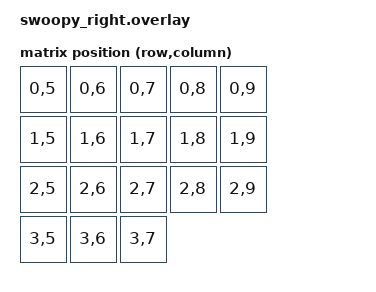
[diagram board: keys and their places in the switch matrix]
#include "swoopy.dtsi"

/ {
    default_transform: keymap_transform_0 {
        compatible = "zmk,matrix-transform";
        columns = <10>;
        rows = <4>;

        map = <
            RC(0,5) RC(0,6) RC(0,7) RC(0,8) RC(0,9)
            RC(1,5) RC(1,6) RC(1,7) RC(1,8) RC(1,9)
            RC(2,5) RC(2,6) RC(2,7) RC(2,8) RC(2,9)
            RC(3,5) RC(3,6) RC(3,7)
        >;
    };
};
